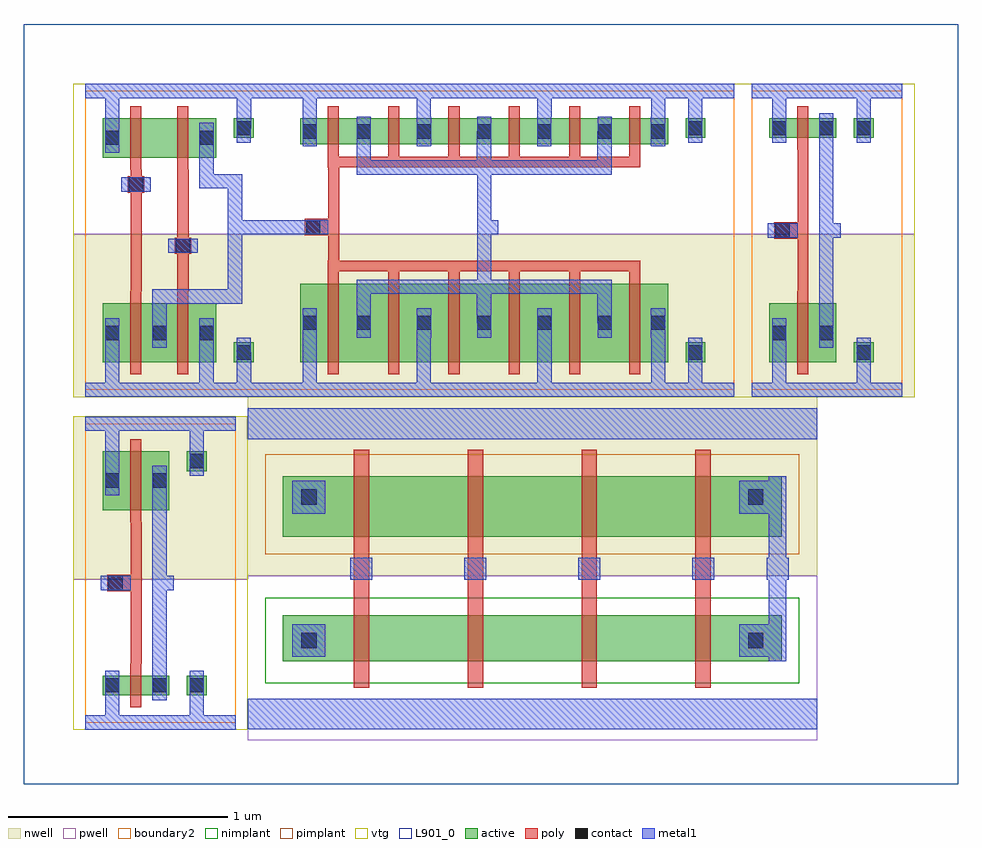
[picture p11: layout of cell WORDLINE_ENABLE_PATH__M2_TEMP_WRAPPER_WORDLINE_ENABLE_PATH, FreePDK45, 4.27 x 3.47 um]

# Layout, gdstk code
import gdstk
lib = gdstk.Library(unit=1e-6, precision=1e-09)
def R(c, l, rs):  # rectangles x0, y0, x1, y1
    for r in rs: c.add(gdstk.rectangle(r[:2], r[2:], *l))
def A(c, l, x, y, w, h, nx, ny, dx, dy):  # array of equal rectangles
    R(c, l, [(x+i*dx, y+j*dy, x+i*dx+w, y+j*dy+h) for i in range(nx) for j in range(ny)])
active = (1, 0)
pwell = (2, 0)
nwell = (3, 0)
nimplant = (4, 0)
pimplant = (5, 0)
vtg = (6, 0)
poly = (9, 0)
contact = (10, 0)
metal1 = (11, 0)
boundary2 = (239, 0)
L901_0 = (901, 0)

wordline_enable_path__wo = lib.new_cell('WORDLINE_ENABLE_PATH__WORDLINE_ENABLE_PATH__sram_1rw_32x16_freepdk45_contact_11')
R(wordline_enable_path__wo, active, [(0,0.022,0.09,0.112)])
R(wordline_enable_path__wo, nwell, [(-0.055,-0.033,0.145,0.168)])
R(wordline_enable_path__wo, pimplant, [(0,0.022,0.09,0.112)])
R(wordline_enable_path__wo, contact, [(0.013,0.035,0.077,0.1)])
R(wordline_enable_path__wo, metal1, [(0.013,0,0.077,0.135)])
R(wordline_enable_path__wo, boundary2, [(-0.055,-0.033,0.145,0.168)])

c_wordline_enable_path__wo = lib.new_cell('WORDLINE_ENABLE_PATH__WORDLINE_ENABLE_PATH__sram_1rw_32x16_freepdk45_pmos_m1_w0_270_sm1_dm1_da_p')
R(c_wordline_enable_path__wo, active, [(0,0,0.305,0.27)])
R(c_wordline_enable_path__wo, nwell, [(-0.08,-0.08,0.385,0.35)])
R(c_wordline_enable_path__wo, pimplant, [(0,0,0.305,0.27)])
R(c_wordline_enable_path__wo, vtg, [(-0.08,-0.08,0.385,0.35)])
R(c_wordline_enable_path__wo, poly, [(0.127,-0.055,0.177,0.325), (0.127,-0.055,0.177,0.325)])
R(c_wordline_enable_path__wo, metal1, [(0.013,0.068,0.077,0.203), (0.227,0.068,0.292,0.203)])
R(c_wordline_enable_path__wo, boundary2, [(-0.08,-0.08,0.385,0.35)])
c_wordline_enable_path__wo.add(gdstk.Reference(wordline_enable_path__wo, (0,0.068)))
c_wordline_enable_path__wo.add(gdstk.Reference(wordline_enable_path__wo, (0.215,0.068)))
c_wordline_enable_path__wo.add(gdstk.Label('G', (0.152,0.135), layer=9, texttype=0))
c_wordline_enable_path__wo.add(gdstk.Label('S', (0.045,0.135), layer=11, texttype=0))
c_wordline_enable_path__wo.add(gdstk.Label('D', (0.26,0.135), layer=11, texttype=0))

c_wordline_enable_path__wo_ = lib.new_cell('WORDLINE_ENABLE_PATH__WORDLINE_ENABLE_PATH__sram_1rw_32x16_freepdk45_contact_10')
R(c_wordline_enable_path__wo_, active, [(0,0.022,0.09,0.112)])
R(c_wordline_enable_path__wo_, pwell, [(-0.055,-0.033,0.145,0.168)])
R(c_wordline_enable_path__wo_, nimplant, [(0,0.022,0.09,0.112)])
R(c_wordline_enable_path__wo_, contact, [(0.013,0.035,0.077,0.1)])
R(c_wordline_enable_path__wo_, metal1, [(0.013,0,0.077,0.135)])
R(c_wordline_enable_path__wo_, boundary2, [(-0.055,-0.033,0.145,0.168)])

c_wordline_enable_path__wo__ = lib.new_cell('WORDLINE_ENABLE_PATH__WORDLINE_ENABLE_PATH__sram_1rw_32x16_freepdk45_nmos_m1_w0_090_sm1_dm1_da_p')
R(c_wordline_enable_path__wo__, active, [(0,0,0.305,0.09)])
R(c_wordline_enable_path__wo__, pwell, [(-0.08,-0.08,0.385,0.17)])
R(c_wordline_enable_path__wo__, nimplant, [(0,0,0.305,0.09)])
R(c_wordline_enable_path__wo__, vtg, [(-0.08,-0.08,0.385,0.17)])
R(c_wordline_enable_path__wo__, poly, [(0.127,-0.055,0.177,0.145), (0.127,-0.055,0.177,0.145)])
R(c_wordline_enable_path__wo__, metal1, [(0.013,-0.022,0.077,0.112), (0.227,-0.022,0.292,0.112)])
R(c_wordline_enable_path__wo__, boundary2, [(-0.08,-0.08,0.385,0.17)])
c_wordline_enable_path__wo__.add(gdstk.Reference(c_wordline_enable_path__wo_, (0,-0.022)))
c_wordline_enable_path__wo__.add(gdstk.Reference(c_wordline_enable_path__wo_, (0.215,-0.022)))
c_wordline_enable_path__wo__.add(gdstk.Label('G', (0.152,0.045), layer=9, texttype=0))
c_wordline_enable_path__wo__.add(gdstk.Label('S', (0.045,0.045), layer=11, texttype=0))
c_wordline_enable_path__wo__.add(gdstk.Label('D', (0.26,0.045), layer=11, texttype=0))

c_wordline_enable_path__wo___ = lib.new_cell('WORDLINE_ENABLE_PATH__WORDLINE_ENABLE_PATH__sram_1rw_32x16_freepdk45_contact_12')
R(c_wordline_enable_path__wo___, active, [(0,0.022,0.09,0.112)])
R(c_wordline_enable_path__wo___, nwell, [(-0.055,-0.033,0.145,0.168)])
R(c_wordline_enable_path__wo___, nimplant, [(0,0.022,0.09,0.112)])
R(c_wordline_enable_path__wo___, contact, [(0.013,0.035,0.077,0.1)])
R(c_wordline_enable_path__wo___, metal1, [(0.013,0,0.077,0.135)])
R(c_wordline_enable_path__wo___, boundary2, [(-0.055,-0.033,0.145,0.168)])

c_wordline_enable_path__wo____ = lib.new_cell('WORDLINE_ENABLE_PATH__WORDLINE_ENABLE_PATH__sram_1rw_32x16_freepdk45_contact_13')
R(c_wordline_enable_path__wo____, active, [(0,0.022,0.09,0.112)])
R(c_wordline_enable_path__wo____, pwell, [(-0.055,-0.033,0.145,0.168)])
R(c_wordline_enable_path__wo____, pimplant, [(0,0.022,0.09,0.112)])
R(c_wordline_enable_path__wo____, contact, [(0.013,0.035,0.077,0.1)])
R(c_wordline_enable_path__wo____, metal1, [(0.013,0,0.077,0.135)])
R(c_wordline_enable_path__wo____, boundary2, [(-0.055,-0.033,0.145,0.168)])

c_wordline_enable_path__wo_____ = lib.new_cell('WORDLINE_ENABLE_PATH__WORDLINE_ENABLE_PATH__sram_1rw_32x16_freepdk45_contact_14')
R(c_wordline_enable_path__wo_____, poly, [(0.03,0,0.105,0.075)])
R(c_wordline_enable_path__wo_____, contact, [(0.035,0.005,0.1,0.07)])
R(c_wordline_enable_path__wo_____, metal1, [(0,0.005,0.135,0.07)])
R(c_wordline_enable_path__wo_____, boundary2, [(0,0,0.135,0.075)])

c_wordline_enable_path__wo______ = lib.new_cell('WORDLINE_ENABLE_PATH__WORDLINE_ENABLE_PATH__gen_inv')
R(c_wordline_enable_path__wo______, pwell, [(-0.055,-0.033,0.743,0.655)])
R(c_wordline_enable_path__wo______, nwell, [(-0.055,0.655,0.743,1.4)])
R(c_wordline_enable_path__wo______, vtg, [(-0.055,-0.033,0.743,0.655), (-0.055,0.655,0.743,1.4)])
R(c_wordline_enable_path__wo______, poly, [(0.208,0.27,0.258,0.915), (0.14,0.6,0.208,0.675)])
R(c_wordline_enable_path__wo______, metal1, [(0,-0.033,0.687,0.033), (0.092,-0.033,0.157,0.103), (0.478,0,0.542,0.17), (0.307,0.103,0.372,1.173), (0.072,0.605,0.208,0.67), (0.34,0.605,0.405,0.67), (0.092,1.038,0.157,1.397), (0.478,1.195,0.542,1.365), (0,1.332,0.687,1.397)])
R(c_wordline_enable_path__wo______, boundary2, [(0,0,0.687,1.365), (0,0,0.687,1.365)])
c_wordline_enable_path__wo______.add(gdstk.Reference(c_wordline_enable_path__wo, (0.08,0.97)))
c_wordline_enable_path__wo______.add(gdstk.Reference(c_wordline_enable_path__wo__, (0.08,0.125)))
c_wordline_enable_path__wo______.add(gdstk.Reference(c_wordline_enable_path__wo___, (0.465,1.127)))
c_wordline_enable_path__wo______.add(gdstk.Reference(c_wordline_enable_path__wo____, (0.465,0.103)))
c_wordline_enable_path__wo______.add(gdstk.Reference(c_wordline_enable_path__wo_____, (0.072,0.6)))
c_wordline_enable_path__wo______.add(gdstk.Label('A', (0.14,0.638), layer=11, texttype=0))
c_wordline_enable_path__wo______.add(gdstk.Label('Z', (0.372,0.638), layer=11, texttype=0))
c_wordline_enable_path__wo______.add(gdstk.Label('gnd', (0.345,0), layer=11, texttype=0))
c_wordline_enable_path__wo______.add(gdstk.Label('vdd', (0.345,1.365), layer=11, texttype=0))

c_wordline_enable_path__wo_______ = lib.new_cell('WORDLINE_ENABLE_PATH__WORDLINE_ENABLE_PATH__gen_nand4')
R(c_wordline_enable_path__wo_______, active, [(0.16,0.36,2.44,0.57), (0.16,0.93,2.44,1.205)])
R(c_wordline_enable_path__wo_______, pwell, [(0,0,2.6,0.75)])
R(c_wordline_enable_path__wo_______, nwell, [(0,0.75,2.6,1.565)])
R(c_wordline_enable_path__wo_______, nimplant, [(0.08,0.26,2.52,0.65)])
R(c_wordline_enable_path__wo_______, pimplant, [(0.08,0.85,2.52,1.305)])
A(c_wordline_enable_path__wo_______, poly, 0.485, 0.24, 0.07, 1.085, 4, 1, 0.52, 0)
R(c_wordline_enable_path__wo_______, contact, [(0.245,0.42,0.315,0.49), (2.285,0.42,2.355,0.49), (0.245,1.075,0.315,1.145), (2.285,1.075,2.355,1.145)])
A(c_wordline_enable_path__wo_______, metal1, 0.47, 0.733, 0.1, 0.099, 4, 1, 0.52, 0)
R(c_wordline_enable_path__wo_______, metal1, [(0,0.05,2.6,0.19), (1.25,0.07,1.35,0.17), (2.38,0.36,2.46,1.205), (0.205,0.38,0.355,0.53), (2.245,0.38,2.395,0.53), (2.37,0.733,2.47,0.832), (0.205,1.035,0.355,1.185), (2.245,1.035,2.395,1.185), (0,1.375,2.6,1.515), (1.25,1.395,1.35,1.495)])

c_wordline_enable_path__wo________ = lib.new_cell('WORDLINE_ENABLE_PATH__WORDLINE_ENABLE_PATH__sram_1rw_32x16_freepdk45_contact_11__gen_wl_driver')
R(c_wordline_enable_path__wo________, active, [(0,0.022,0.09,0.112)])
R(c_wordline_enable_path__wo________, nwell, [(-0.055,-0.033,0.145,0.168)])
R(c_wordline_enable_path__wo________, pimplant, [(0,0.022,0.09,0.112)])
R(c_wordline_enable_path__wo________, contact, [(0.013,0.035,0.077,0.1)])
R(c_wordline_enable_path__wo________, metal1, [(0.013,0,0.077,0.135)])
R(c_wordline_enable_path__wo________, boundary2, [(-0.055,-0.033,0.145,0.168)])

c_wordline_enable_path__wo_________ = lib.new_cell('WORDLINE_ENABLE_PATH__WORDLINE_ENABLE_PATH__sram_1rw_32x16_freepdk45_pmos_m1_w0_270_sm1_dm1')
R(c_wordline_enable_path__wo_________, active, [(0,0,0.305,0.27)])
R(c_wordline_enable_path__wo_________, nwell, [(-0.08,-0.08,0.385,0.35)])
R(c_wordline_enable_path__wo_________, pimplant, [(0,0,0.305,0.27)])
R(c_wordline_enable_path__wo_________, vtg, [(-0.08,-0.08,0.385,0.35)])
R(c_wordline_enable_path__wo_________, poly, [(0.127,-0.055,0.177,0.325), (0.127,-0.055,0.177,0.325)])
R(c_wordline_enable_path__wo_________, metal1, [(0.013,0.068,0.077,0.203), (0.227,0.068,0.292,0.203)])
R(c_wordline_enable_path__wo_________, boundary2, [(-0.08,-0.08,0.385,0.35)])
c_wordline_enable_path__wo_________.add(gdstk.Reference(c_wordline_enable_path__wo________, (0,0.068)))
c_wordline_enable_path__wo_________.add(gdstk.Reference(c_wordline_enable_path__wo________, (0.215,0.068)))
c_wordline_enable_path__wo_________.add(gdstk.Label('G', (0.152,0.135), layer=9, texttype=0))
c_wordline_enable_path__wo_________.add(gdstk.Label('S', (0.045,0.135), layer=11, texttype=0))
c_wordline_enable_path__wo_________.add(gdstk.Label('D', (0.26,0.135), layer=11, texttype=0))

c_wordline_enable_path__wo__________ = lib.new_cell('WORDLINE_ENABLE_PATH__WORDLINE_ENABLE_PATH__sram_1rw_32x16_freepdk45_contact_10__gen_wl_driver')
R(c_wordline_enable_path__wo__________, active, [(0,0.022,0.09,0.112)])
R(c_wordline_enable_path__wo__________, pwell, [(-0.055,-0.033,0.145,0.168)])
R(c_wordline_enable_path__wo__________, nimplant, [(0,0.022,0.09,0.112)])
R(c_wordline_enable_path__wo__________, contact, [(0.013,0.035,0.077,0.1)])
R(c_wordline_enable_path__wo__________, metal1, [(0.013,0,0.077,0.135)])
R(c_wordline_enable_path__wo__________, boundary2, [(-0.055,-0.033,0.145,0.168)])

c_wordline_enable_path__wo___________ = lib.new_cell('WORDLINE_ENABLE_PATH__WORDLINE_ENABLE_PATH__sram_1rw_32x16_freepdk45_nmos_m1_w0_180_sm1_dactive')
R(c_wordline_enable_path__wo___________, active, [(0,0,0.305,0.18), (0.215,0.045,0.305,0.135)])
R(c_wordline_enable_path__wo___________, pwell, [(-0.08,-0.08,0.385,0.26)])
R(c_wordline_enable_path__wo___________, nimplant, [(0,0,0.305,0.18)])
R(c_wordline_enable_path__wo___________, vtg, [(-0.08,-0.08,0.385,0.26)])
R(c_wordline_enable_path__wo___________, poly, [(0.127,-0.055,0.177,0.235), (0.127,-0.055,0.177,0.235)])
R(c_wordline_enable_path__wo___________, metal1, [(0.013,0.022,0.077,0.157)])
R(c_wordline_enable_path__wo___________, boundary2, [(-0.08,-0.08,0.385,0.26)])
c_wordline_enable_path__wo___________.add(gdstk.Reference(c_wordline_enable_path__wo__________, (0,0.022)))
c_wordline_enable_path__wo___________.add(gdstk.Label('G', (0.152,0.09), layer=9, texttype=0))
c_wordline_enable_path__wo___________.add(gdstk.Label('S', (0.045,0.09), layer=11, texttype=0))
c_wordline_enable_path__wo___________.add(gdstk.Label('D', (0.26,0.09), layer=1, texttype=0))

c_wordline_enable_path__wo____________ = lib.new_cell('WORDLINE_ENABLE_PATH__WORDLINE_ENABLE_PATH__sram_1rw_32x16_freepdk45_nmos_m1_w0_180_sactive_dm1')
R(c_wordline_enable_path__wo____________, active, [(0,0,0.305,0.18), (0,0.045,0.09,0.135)])
R(c_wordline_enable_path__wo____________, pwell, [(-0.08,-0.08,0.385,0.26)])
R(c_wordline_enable_path__wo____________, nimplant, [(0,0,0.305,0.18)])
R(c_wordline_enable_path__wo____________, vtg, [(-0.08,-0.08,0.385,0.26)])
R(c_wordline_enable_path__wo____________, poly, [(0.127,-0.055,0.177,0.235), (0.127,-0.055,0.177,0.235)])
R(c_wordline_enable_path__wo____________, metal1, [(0.227,0.022,0.292,0.157)])
R(c_wordline_enable_path__wo____________, boundary2, [(-0.08,-0.08,0.385,0.26)])
c_wordline_enable_path__wo____________.add(gdstk.Reference(c_wordline_enable_path__wo__________, (0.215,0.022)))
c_wordline_enable_path__wo____________.add(gdstk.Label('G', (0.152,0.09), layer=9, texttype=0))
c_wordline_enable_path__wo____________.add(gdstk.Label('S', (0.045,0.09), layer=1, texttype=0))
c_wordline_enable_path__wo____________.add(gdstk.Label('D', (0.26,0.09), layer=11, texttype=0))

c_wordline_enable_path__wo_____________ = lib.new_cell('WORDLINE_ENABLE_PATH__WORDLINE_ENABLE_PATH__sram_1rw_32x16_freepdk45_contact_12__gen_wl_driver')
R(c_wordline_enable_path__wo_____________, active, [(0,0.022,0.09,0.112)])
R(c_wordline_enable_path__wo_____________, nwell, [(-0.055,-0.033,0.145,0.168)])
R(c_wordline_enable_path__wo_____________, nimplant, [(0,0.022,0.09,0.112)])
R(c_wordline_enable_path__wo_____________, contact, [(0.013,0.035,0.077,0.1)])
R(c_wordline_enable_path__wo_____________, metal1, [(0.013,0,0.077,0.135)])
R(c_wordline_enable_path__wo_____________, boundary2, [(-0.055,-0.033,0.145,0.168)])

c_wordline_enable_path__wo______________ = lib.new_cell('WORDLINE_ENABLE_PATH__WORDLINE_ENABLE_PATH__sram_1rw_32x16_freepdk45_contact_13__gen_wl_driver')
R(c_wordline_enable_path__wo______________, active, [(0,0.022,0.09,0.112)])
R(c_wordline_enable_path__wo______________, pwell, [(-0.055,-0.033,0.145,0.168)])
R(c_wordline_enable_path__wo______________, pimplant, [(0,0.022,0.09,0.112)])
R(c_wordline_enable_path__wo______________, contact, [(0.013,0.035,0.077,0.1)])
R(c_wordline_enable_path__wo______________, metal1, [(0.013,0,0.077,0.135)])
R(c_wordline_enable_path__wo______________, boundary2, [(-0.055,-0.033,0.145,0.168)])

c_wordline_enable_path__wo_______________ = lib.new_cell('WORDLINE_ENABLE_PATH__WORDLINE_ENABLE_PATH__sram_1rw_32x16_freepdk45_contact_14__gen_wl_driver')
R(c_wordline_enable_path__wo_______________, poly, [(0.03,0,0.105,0.075)])
R(c_wordline_enable_path__wo_______________, contact, [(0.035,0.005,0.1,0.07)])
R(c_wordline_enable_path__wo_______________, metal1, [(0,0.005,0.135,0.07)])
R(c_wordline_enable_path__wo_______________, boundary2, [(0,0,0.135,0.075)])

c_wordline_enable_path__wo________________ = lib.new_cell('WORDLINE_ENABLE_PATH__WORDLINE_ENABLE_PATH__sram_1rw_32x16_freepdk45_pnand2')
R(c_wordline_enable_path__wo________________, pwell, [(-0.055,-0.033,0.957,0.655)])
R(c_wordline_enable_path__wo________________, nwell, [(-0.055,0.655,0.957,1.4)])
R(c_wordline_enable_path__wo________________, vtg, [(-0.055,-0.033,0.957,0.655), (-0.055,0.655,0.957,1.4)])
R(c_wordline_enable_path__wo________________, poly, [(0.208,0.36,0.258,0.915), (0.422,0.36,0.473,0.915), (0.208,0.39,0.232,0.465), (0.422,0.67,0.447,0.745)])
R(c_wordline_enable_path__wo________________, metal1, [(0,-0.033,0.902,0.033), (0.092,-0.033,0.157,0.147), (0.692,0,0.758,0.17), (0.522,0.283,0.588,0.413), (0.522,0.38,0.588,0.445), (0.555,0.38,0.685,0.445), (0.652,0.38,0.718,0.445), (0.165,0.395,0.3,0.46), (0.652,0.413,0.718,0.94), (0.38,0.675,0.515,0.74), (0.307,0.907,0.372,0.972), (0.34,0.907,0.685,0.972), (0.652,0.907,0.718,0.972), (0.307,0.94,0.372,1.038), (0.092,1.038,0.157,1.397), (0.522,1.038,0.588,1.397), (0.692,1.195,0.758,1.365), (0,1.332,0.902,1.397)])
R(c_wordline_enable_path__wo________________, boundary2, [(0,0,0.902,1.365), (0,0,0.902,1.365)])
c_wordline_enable_path__wo________________.add(gdstk.Reference(c_wordline_enable_path__wo_________, (0.08,0.97)))
c_wordline_enable_path__wo________________.add(gdstk.Reference(c_wordline_enable_path__wo_________, (0.295,0.97)))
c_wordline_enable_path__wo________________.add(gdstk.Reference(c_wordline_enable_path__wo___________, (0.08,0.125)))
c_wordline_enable_path__wo________________.add(gdstk.Reference(c_wordline_enable_path__wo____________, (0.295,0.125)))
c_wordline_enable_path__wo________________.add(gdstk.Reference(c_wordline_enable_path__wo_____________, (0.68,1.127)))
c_wordline_enable_path__wo________________.add(gdstk.Reference(c_wordline_enable_path__wo______________, (0.68,0.103)))
c_wordline_enable_path__wo________________.add(gdstk.Reference(c_wordline_enable_path__wo_______________, (0.165,0.39)))
c_wordline_enable_path__wo________________.add(gdstk.Reference(c_wordline_enable_path__wo_______________, (0.38,0.67)))
c_wordline_enable_path__wo________________.add(gdstk.Label('Z', (0.685,0.94), layer=11, texttype=0))
c_wordline_enable_path__wo________________.add(gdstk.Label('gnd', (0.45,0), layer=11, texttype=0))
c_wordline_enable_path__wo________________.add(gdstk.Label('vdd', (0.45,1.365), layer=11, texttype=0))
c_wordline_enable_path__wo________________.add(gdstk.Label('A', (0.232,0.427), layer=11, texttype=0))
c_wordline_enable_path__wo________________.add(gdstk.Label('B', (0.447,0.707), layer=11, texttype=0))

c_wordline_enable_path__wo_________________ = lib.new_cell('WORDLINE_ENABLE_PATH__WORDLINE_ENABLE_PATH__sram_1rw_32x16_freepdk45_pmos_m6_w0_360_sm1_dm1_da_p')
R(c_wordline_enable_path__wo_________________, active, [(0,0,1.68,0.36)])
R(c_wordline_enable_path__wo_________________, nwell, [(-0.08,-0.08,1.76,0.44)])
R(c_wordline_enable_path__wo_________________, pimplant, [(0,0,1.68,0.36)])
R(c_wordline_enable_path__wo_________________, vtg, [(-0.08,-0.08,1.76,0.44)])
R(c_wordline_enable_path__wo_________________, poly, [(0.127,-0.105,1.552,-0.055), (0.127,-0.055,0.177,0.415), (0.403,-0.055,0.452,0.415), (0.677,-0.055,0.728,0.415), (0.952,-0.055,1.002,0.415), (1.228,-0.055,1.278,0.415), (1.502,-0.055,1.552,0.415)])
R(c_wordline_enable_path__wo_________________, metal1, [(0.258,-0.018,1.423,0.047), (0.258,0.015,0.323,0.18), (0.807,0.015,0.873,0.18), (1.357,0.015,1.423,0.18), (0.013,0.112,0.077,0.247), (0.532,0.112,0.598,0.247), (1.083,0.112,1.147,0.247), (1.602,0.112,1.667,0.247)])
R(c_wordline_enable_path__wo_________________, boundary2, [(-0.08,-0.105,1.76,0.44)])
c_wordline_enable_path__wo_________________.add(gdstk.Reference(c_wordline_enable_path__wo________, (0,0.112)))
c_wordline_enable_path__wo_________________.add(gdstk.Reference(c_wordline_enable_path__wo________, (0.245,0.112)))
c_wordline_enable_path__wo_________________.add(gdstk.Reference(c_wordline_enable_path__wo________, (0.52,0.112)))
c_wordline_enable_path__wo_________________.add(gdstk.Reference(c_wordline_enable_path__wo________, (0.795,0.112)))
c_wordline_enable_path__wo_________________.add(gdstk.Reference(c_wordline_enable_path__wo________, (1.07,0.112)))
c_wordline_enable_path__wo_________________.add(gdstk.Reference(c_wordline_enable_path__wo________, (1.345,0.112)))
c_wordline_enable_path__wo_________________.add(gdstk.Reference(c_wordline_enable_path__wo________, (1.59,0.112)))
c_wordline_enable_path__wo_________________.add(gdstk.Label('G', (0.84,-0.08), layer=9, texttype=0))
c_wordline_enable_path__wo_________________.add(gdstk.Label('S', (1.635,0.18), layer=11, texttype=0))
c_wordline_enable_path__wo_________________.add(gdstk.Label('S', (1.115,0.18), layer=11, texttype=0))
c_wordline_enable_path__wo_________________.add(gdstk.Label('S', (0.045,0.18), layer=11, texttype=0))
c_wordline_enable_path__wo_________________.add(gdstk.Label('S', (0.565,0.18), layer=11, texttype=0))
c_wordline_enable_path__wo_________________.add(gdstk.Label('D', (0.84,0.015), layer=11, texttype=0))

c_wordline_enable_path__wo__________________ = lib.new_cell('WORDLINE_ENABLE_PATH__WORDLINE_ENABLE_PATH__sram_1rw_32x16_freepdk45_nmos_m6_w0_120_sm1_dm1_da_p')
R(c_wordline_enable_path__wo__________________, active, [(0,0,1.68,0.12)])
R(c_wordline_enable_path__wo__________________, pwell, [(-0.08,-0.08,1.76,0.2)])
R(c_wordline_enable_path__wo__________________, nimplant, [(0,0,1.68,0.12)])
R(c_wordline_enable_path__wo__________________, vtg, [(-0.08,-0.08,1.76,0.2)])
R(c_wordline_enable_path__wo__________________, poly, [(0.127,-0.055,0.177,0.175), (0.403,-0.055,0.452,0.175), (0.677,-0.055,0.728,0.175), (0.952,-0.055,1.002,0.175), (1.228,-0.055,1.278,0.175), (1.502,-0.055,1.552,0.175), (0.127,0.175,1.552,0.225)])
R(c_wordline_enable_path__wo__________________, metal1, [(0.013,-0.007,0.077,0.127), (0.532,-0.007,0.598,0.127), (1.083,-0.007,1.147,0.127), (1.602,-0.007,1.667,0.127), (0.258,0.06,0.323,0.225), (0.807,0.06,0.873,0.225), (1.357,0.06,1.423,0.225), (0.258,0.192,1.423,0.258)])
R(c_wordline_enable_path__wo__________________, boundary2, [(-0.08,-0.08,1.76,0.258)])
c_wordline_enable_path__wo__________________.add(gdstk.Reference(c_wordline_enable_path__wo__________, (0,-0.007)))
c_wordline_enable_path__wo__________________.add(gdstk.Reference(c_wordline_enable_path__wo__________, (0.245,-0.007)))
c_wordline_enable_path__wo__________________.add(gdstk.Reference(c_wordline_enable_path__wo__________, (0.52,-0.007)))
c_wordline_enable_path__wo__________________.add(gdstk.Reference(c_wordline_enable_path__wo__________, (0.795,-0.007)))
c_wordline_enable_path__wo__________________.add(gdstk.Reference(c_wordline_enable_path__wo__________, (1.07,-0.007)))
c_wordline_enable_path__wo__________________.add(gdstk.Reference(c_wordline_enable_path__wo__________, (1.345,-0.007)))
c_wordline_enable_path__wo__________________.add(gdstk.Reference(c_wordline_enable_path__wo__________, (1.59,-0.007)))
c_wordline_enable_path__wo__________________.add(gdstk.Label('G', (0.84,0.2), layer=9, texttype=0))
c_wordline_enable_path__wo__________________.add(gdstk.Label('S', (1.115,0.06), layer=11, texttype=0))
c_wordline_enable_path__wo__________________.add(gdstk.Label('S', (0.565,0.06), layer=11, texttype=0))
c_wordline_enable_path__wo__________________.add(gdstk.Label('S', (0.045,0.06), layer=11, texttype=0))
c_wordline_enable_path__wo__________________.add(gdstk.Label('S', (1.635,0.06), layer=11, texttype=0))
c_wordline_enable_path__wo__________________.add(gdstk.Label('D', (0.84,0.225), layer=11, texttype=0))

c_wordline_enable_path__wo___________________ = lib.new_cell('WORDLINE_ENABLE_PATH__WORDLINE_ENABLE_PATH__sram_1rw_32x16_freepdk45_pinv_0')
R(c_wordline_enable_path__wo___________________, pwell, [(-0.055,-0.033,2.118,0.655)])
R(c_wordline_enable_path__wo___________________, nwell, [(-0.055,0.655,2.118,1.4)])
R(c_wordline_enable_path__wo___________________, vtg, [(-0.055,-0.033,2.118,0.655), (-0.055,0.655,2.118,1.4)])
R(c_wordline_enable_path__wo___________________, poly, [(0.208,0.35,0.258,0.775), (0.14,0.585,0.208,0.66)])
R(c_wordline_enable_path__wo___________________, metal1, [(0,-0.033,2.062,0.033), (0.092,-0.033,0.157,0.118), (0.613,-0.033,0.677,0.118), (1.163,-0.033,1.228,0.118), (1.683,-0.033,1.747,0.118), (1.852,0,1.917,0.17), (0.888,0.317,0.952,0.927), (0.072,0.59,0.208,0.655), (0.92,0.59,0.985,0.655), (0.092,0.992,0.157,1.397), (0.613,0.992,0.677,1.397), (1.163,0.992,1.228,1.397), (1.683,0.992,1.747,1.397), (1.852,1.195,1.917,1.365), (0,1.332,2.062,1.397)])
R(c_wordline_enable_path__wo___________________, boundary2, [(0,0,2.062,1.365), (0,0,2.062,1.365)])
c_wordline_enable_path__wo___________________.add(gdstk.Reference(c_wordline_enable_path__wo_________________, (0.08,0.88)))
c_wordline_enable_path__wo___________________.add(gdstk.Reference(c_wordline_enable_path__wo__________________, (0.08,0.125)))
c_wordline_enable_path__wo___________________.add(gdstk.Reference(c_wordline_enable_path__wo_____________, (1.84,1.127)))
c_wordline_enable_path__wo___________________.add(gdstk.Reference(c_wordline_enable_path__wo______________, (1.84,0.103)))
c_wordline_enable_path__wo___________________.add(gdstk.Reference(c_wordline_enable_path__wo_______________, (0.072,0.585)))
c_wordline_enable_path__wo___________________.add(gdstk.Label('A', (0.14,0.623), layer=11, texttype=0))
c_wordline_enable_path__wo___________________.add(gdstk.Label('Z', (0.952,0.623), layer=11, texttype=0))
c_wordline_enable_path__wo___________________.add(gdstk.Label('gnd', (1.03,0), layer=11, texttype=0))
c_wordline_enable_path__wo___________________.add(gdstk.Label('vdd', (1.03,1.365), layer=11, texttype=0))

c_wordline_enable_path__wo____________________ = lib.new_cell('WORDLINE_ENABLE_PATH__WORDLINE_ENABLE_PATH__gen_wl_driver')
R(c_wordline_enable_path__wo____________________, metal1, [(0,-0.033,2.965,0.033), (0.165,0.395,0.3,0.46), (0.652,0.59,0.718,0.655), (0.685,0.59,1.042,0.655), (1.822,0.59,1.887,0.655), (0.652,0.623,0.718,0.94), (0.38,0.675,0.515,0.74), (0,1.332,2.965,1.397)])
R(c_wordline_enable_path__wo____________________, boundary2, [(0,0,2.965,1.365)])
c_wordline_enable_path__wo____________________.add(gdstk.Reference(c_wordline_enable_path__wo________________, (0,0)))
c_wordline_enable_path__wo____________________.add(gdstk.Reference(c_wordline_enable_path__wo___________________, (0.902,0)))
c_wordline_enable_path__wo____________________.add(gdstk.Label('Z', (1.855,0.623), layer=11, texttype=0))
c_wordline_enable_path__wo____________________.add(gdstk.Label('A', (0.232,0.427), layer=11, texttype=0))
c_wordline_enable_path__wo____________________.add(gdstk.Label('B', (0.447,0.707), layer=11, texttype=0))
c_wordline_enable_path__wo____________________.add(gdstk.Label('gnd', (1.482,0), layer=11, texttype=0))
c_wordline_enable_path__wo____________________.add(gdstk.Label('vdd', (1.482,1.365), layer=11, texttype=0))

c_wordline_enable_path__wo_____________________ = lib.new_cell('WORDLINE_ENABLE_PATH__WORDLINE_ENABLE_PATH__WORDLINE_ENABLE_PATH')
c_wordline_enable_path__wo_____________________.add(gdstk.Reference(c_wordline_enable_path__wo______, (0.08,0.08)))
c_wordline_enable_path__wo_____________________.add(gdstk.Reference(c_wordline_enable_path__wo_______, (0.822,0)))
c_wordline_enable_path__wo_____________________.add(gdstk.Reference(c_wordline_enable_path__wo____________________, (0.08,2.965), x_reflection=True))
c_wordline_enable_path__wo_____________________.add(gdstk.Reference(c_wordline_enable_path__wo______, (3.125,2.965), x_reflection=True))

wordline_enable_path__m2 = lib.new_cell('WORDLINE_ENABLE_PATH__M2_TEMP_WRAPPER_WORDLINE_ENABLE_PATH')
R(wordline_enable_path__m2, L901_0, [(-0.2,-0.2,4.067,3.27)])
wordline_enable_path__m2.add(gdstk.Reference(c_wordline_enable_path__wo_____________________, (0,0)))
wordline_enable_path__m2.add(gdstk.Label('TEMP_WRAPPER_FOR_M2_REVIEW', (0,3.57), layer=900, texttype=0))
wordline_enable_path__m2.add(gdstk.Label('WORDLINE_ENABLE_PATH candidate composite', (0,4.17), layer=900, texttype=0))

lib.write_gds('WORDLINE_ENABLE_PATH__M2_TEMP_WRAPPER_WORDLINE_ENABLE_PATH.gds')
